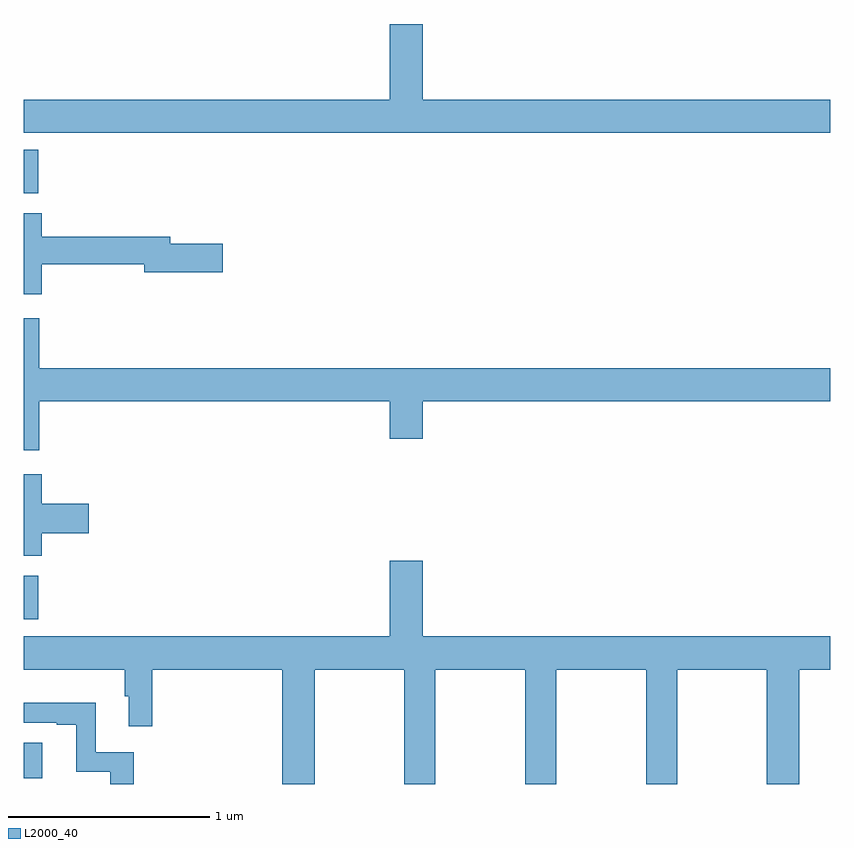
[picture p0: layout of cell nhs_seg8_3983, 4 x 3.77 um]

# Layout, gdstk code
import gdstk
lib = gdstk.Library(unit=1e-6, precision=1e-09)
def R(c, l, rs):  # rectangles x0, y0, x1, y1
    for r in rs: c.add(gdstk.rectangle(r[:2], r[2:], *l))
def P(c, l, *ps):  # polygons
    for p in ps: c.add(gdstk.Polygon(p, *l))
L2000_40 = (2000, 40)

nhs_seg8_3983 = lib.new_cell('nhs_seg8_3983')
R(nhs_seg8_3983, L2000_40, [(355,1147.928,355.09,1148.104), (355,1148.718,355.07,1148.934), (355,1150.83,355.07,1151.047)])
P(nhs_seg8_3983, L2000_40, [(359,1151.296),(356.98,1151.296),(356.98,1151.671),(356.816,1151.671),(356.816,1151.296),(355,1151.296),(355,1151.132),(359,1151.132)],
  [(355.088,1150.48),(355.598,1150.48),(355.598,1150.438),(355.987,1150.438),(355.987,1150.58),(355.726,1150.58),(355.726,1150.616),(355.088,1150.616),(355.088,1150.732),(355,1150.732),(355,1150.329),(355.088,1150.329)],
  [(355.076,1149.8),(356.816,1149.8),(356.816,1149.612),(356.98,1149.612),(356.98,1149.8),(359,1149.8),(359,1149.964),(355.076,1149.964),(355.076,1150.21),(355,1150.21),(355,1149.555),(355.076,1149.555)],
  [(355.088,1149.143),(355.321,1149.143),(355.321,1149.29),(355.088,1149.29),(355.088,1149.436),(355,1149.436),(355,1149.033),(355.088,1149.033)],
  [(356.816,1149.007),(356.816,1148.632),(355,1148.632),(355,1148.468),(355.501,1148.468),(355.501,1148.336),(355.52,1148.336),(355.52,1148.187),(355.637,1148.187),(355.637,1148.468),(356.282,1148.468),(356.282,1147.9),(356.442,1147.9),(356.442,1148.468),(356.887,1148.468),(356.887,1147.9),(357.042,1147.9),(357.042,1148.468),(357.487,1148.468),(357.487,1147.9),(357.642,1147.9),(357.642,1148.468),(358.087,1148.468),(358.087,1147.9),(358.242,1147.9),(358.242,1148.468),(358.687,1148.468),(358.687,1147.9),(358.847,1147.9),(358.847,1148.468),(359,1148.468),(359,1148.632),(356.98,1148.632),(356.98,1149.007)],
  [(355.544,1148.058),(355.357,1148.058),(355.357,1148.302),(355,1148.302),(355,1148.205),(355.163,1148.205),(355.163,1148.193),(355.259,1148.193),(355.259,1147.962),(355.428,1147.962),(355.428,1147.9),(355.544,1147.9)])

lib.write_gds('nhs_seg8_3983.gds')
